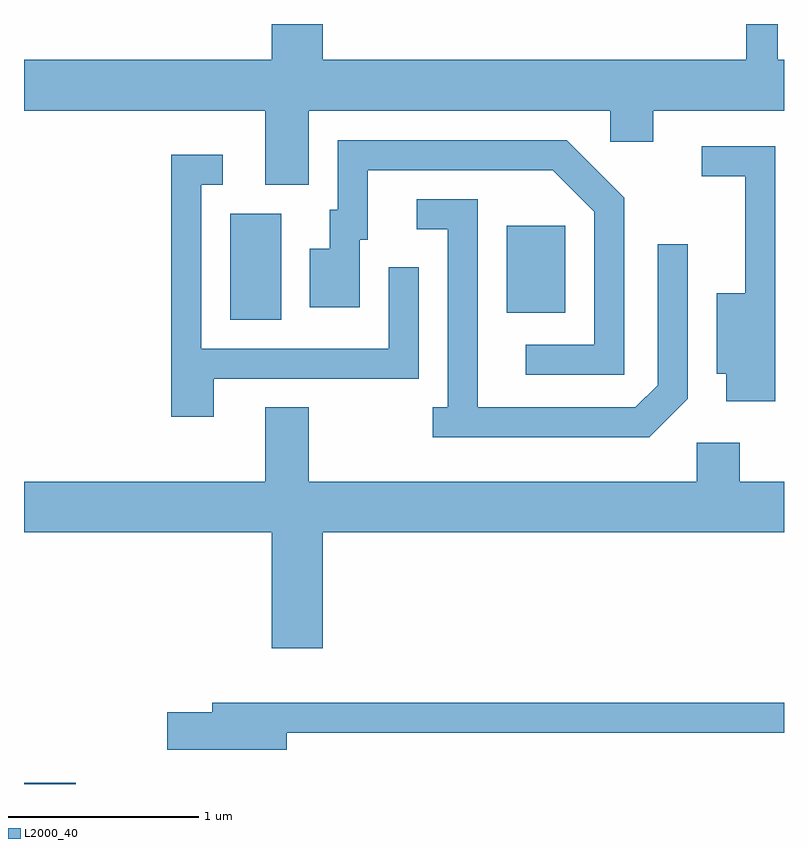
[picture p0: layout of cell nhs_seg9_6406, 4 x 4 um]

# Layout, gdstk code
import gdstk
lib = gdstk.Library(unit=1e-6, precision=1e-09)
def R(c, l, rs):  # rectangles x0, y0, x1, y1
    for r in rs: c.add(gdstk.rectangle(r[:2], r[2:], *l))
def P(c, l, *ps):  # polygons
    for p in ps: c.add(gdstk.Polygon(p, *l))
L2000_40 = (2000, 40)

nhs_seg9_6406 = lib.new_cell('nhs_seg9_6406')
R(nhs_seg9_6406, L2000_40, [(373.611,2050.432,373.884,2050.439), (374.696,2052.876,374.964,2053.434), (376.151,2052.911,376.459,2053.369)])
P(nhs_seg9_6406, L2000_40, [(375.109,2053.976),(376.696,2053.976),(376.696,2053.811),(376.924,2053.811),(376.924,2053.976),(377.611,2053.976),(377.611,2054.244),(377.579,2054.244),(377.579,2054.432),(377.411,2054.432),(377.411,2054.244),(375.184,2054.244),(375.184,2054.432),(374.916,2054.432),(374.916,2054.244),(373.611,2054.244),(373.611,2053.976),(374.881,2053.976),(374.881,2053.586),(375.109,2053.586)],
  [(376.769,2053.517),(376.467,2053.819),(375.261,2053.819),(375.261,2053.454),(375.221,2053.454),(375.221,2053.249),(375.116,2053.249),(375.116,2052.941),(375.379,2052.941),(375.379,2053.296),(375.419,2053.296),(375.419,2053.661),(376.394,2053.661),(376.611,2053.443),(376.611,2052.744),(376.253,2052.744),(376.253,2052.586),(376.769,2052.586)],
  [(377.564,2053.789),(377.178,2053.789),(377.178,2053.631),(377.406,2053.631),(377.406,2053.014),(377.256,2053.014),(377.256,2052.591),(377.306,2052.591),(377.306,2052.446),(377.564,2052.446)],
  [(374.609,2052.566),(375.689,2052.566),(375.689,2053.153),(375.531,2053.153),(375.531,2052.724),(374.544,2052.724),(374.544,2053.586),(374.658,2053.586),(374.658,2053.744),(374.386,2053.744),(374.386,2052.366),(374.609,2052.366)],
  [(377.104,2052.459),(377.104,2053.273),(376.946,2053.273),(376.946,2052.532),(376.829,2052.414),(375.999,2052.414),(375.999,2053.509),(375.678,2053.509),(375.678,2053.351),(375.841,2053.351),(375.841,2052.414),(375.763,2052.414),(375.763,2052.256),(376.902,2052.256)],
  [(375.184,2051.756),(377.611,2051.756),(377.611,2052.024),(377.379,2052.024),(377.379,2052.229),(377.151,2052.229),(377.151,2052.024),(375.109,2052.024),(375.109,2052.414),(374.881,2052.414),(374.881,2052.024),(373.611,2052.024),(373.611,2051.756),(374.916,2051.756),(374.916,2051.146),(375.184,2051.146)],
  [(374.994,2050.701),(377.611,2050.701),(377.611,2050.859),(374.601,2050.859),(374.601,2050.809),(374.366,2050.809),(374.366,2050.611),(374.994,2050.611)])

lib.write_gds('nhs_seg9_6406.gds')
